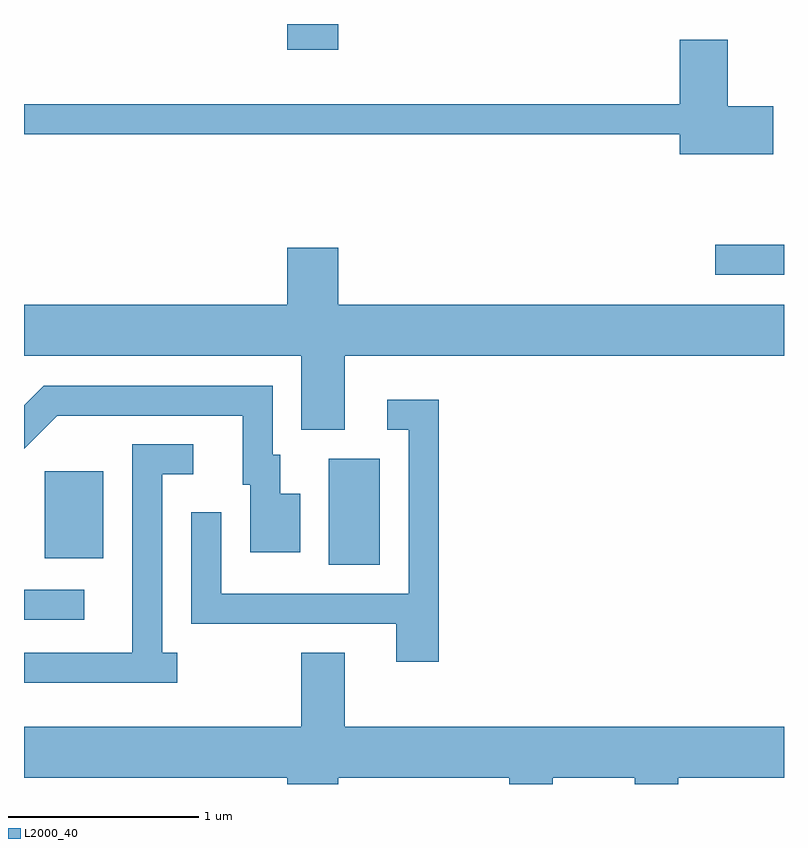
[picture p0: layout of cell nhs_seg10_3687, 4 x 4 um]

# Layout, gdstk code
import gdstk
lib = gdstk.Library(unit=1e-6, precision=1e-09)
def R(c, l, rs):  # rectangles x0, y0, x1, y1
    for r in rs: c.add(gdstk.rectangle(r[:2], r[2:], *l))
def P(c, l, *ps):  # polygons
    for p in ps: c.add(gdstk.Polygon(p, *l))
L2000_40 = (2000, 40)

nhs_seg10_3687 = lib.new_cell('nhs_seg10_3687')
R(nhs_seg10_3687, L2000_40, [(293.611,2141.386,293.928,2141.544), (295.216,2141.676,295.484,2142.234), (293.721,2141.711,294.029,2142.169), (297.248,2143.201,297.611,2143.359), (294.996,2144.386,295.264,2144.522)])
P(nhs_seg10_3687, L2000_40, [(297.554,2144.089),(297.314,2144.089),(297.314,2144.439),(297.061,2144.439),(297.061,2144.099),(293.611,2144.099),(293.611,2143.941),(297.061,2143.941),(297.061,2143.836),(297.554,2143.836)],
  [(295.299,2142.776),(297.611,2142.776),(297.611,2143.044),(295.264,2143.044),(295.264,2143.344),(294.996,2143.344),(294.996,2143.044),(293.611,2143.044),(293.611,2142.776),(295.071,2142.776),(295.071,2142.386),(295.299,2142.386)],
  [(295.064,2142.049),(294.959,2142.049),(294.959,2142.254),(294.919,2142.254),(294.919,2142.619),(293.714,2142.619),(293.611,2142.516),(293.611,2142.286),(293.787,2142.461),(294.761,2142.461),(294.761,2142.096),(294.801,2142.096),(294.801,2141.741),(295.064,2141.741)],
  [(295.794,2142.544),(295.523,2142.544),(295.523,2142.386),(295.636,2142.386),(295.636,2141.524),(294.649,2141.524),(294.649,2141.953),(294.491,2141.953),(294.491,2141.366),(295.571,2141.366),(295.571,2141.166),(295.794,2141.166)],
  [(294.418,2141.214),(294.339,2141.214),(294.339,2142.151),(294.503,2142.151),(294.503,2142.309),(294.181,2142.309),(294.181,2141.214),(293.611,2141.214),(293.611,2141.056),(294.418,2141.056)],
  [(295.264,2140.556),(296.166,2140.556),(296.166,2140.522),(296.394,2140.522),(296.394,2140.556),(296.826,2140.556),(296.826,2140.522),(297.054,2140.522),(297.054,2140.556),(297.611,2140.556),(297.611,2140.824),(295.299,2140.824),(295.299,2141.214),(295.071,2141.214),(295.071,2140.824),(293.611,2140.824),(293.611,2140.556),(294.996,2140.556),(294.996,2140.522),(295.264,2140.522)])

lib.write_gds('nhs_seg10_3687.gds')
